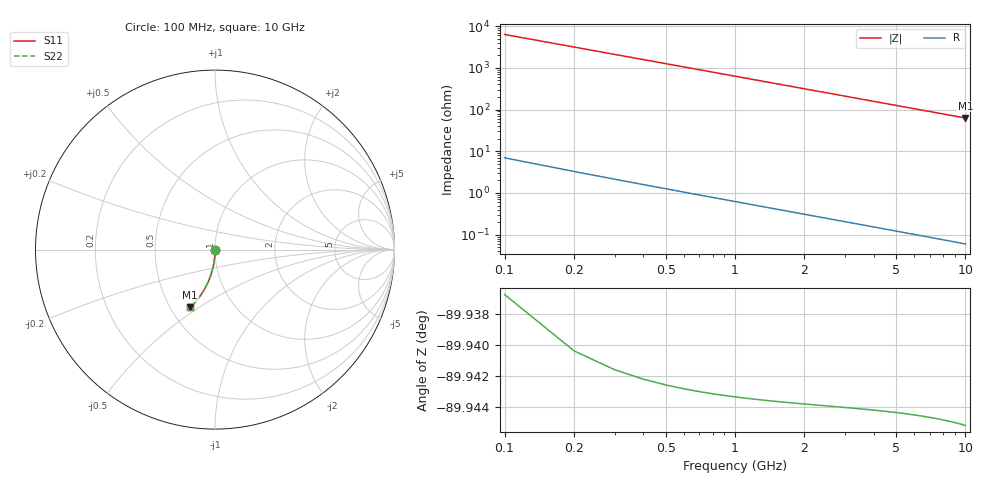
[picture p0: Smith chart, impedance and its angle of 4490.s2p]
# Hz S RI R 50.00
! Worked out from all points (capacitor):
!   100 points, 100 MHz to 10 GHz, reference 50 ohm
!   read as one part in shunt: C = 252 fF near 100 MHz
!   lowest |Z| = 62.8 ohm at 10 GHz (marker M1)
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1e8  4.25e-05 -0.00373  0.9999 -0.00419  0.9999 -0.00419  4.25e-05 -0.00373
2e8  -7.91e-06 -0.00746  0.9999 -0.00838  0.9999 -0.00838  -7.91e-06 -0.00746
3e8  -8.97e-05 -0.0112  0.9998 -0.0126  0.9998 -0.0126  -8.97e-05 -0.0112
4e8  -0.000203 -0.0149  0.9997 -0.0168  0.9997 -0.0168  -0.000203 -0.0149
5e8  -0.000347 -0.0187  0.9995 -0.021  0.9995 -0.021  -0.000347 -0.0187
6e8  -0.000523 -0.0224  0.9993 -0.0251  0.9993 -0.0251  -0.000523 -0.0224
7e8  -0.00073 -0.0261  0.9991 -0.0293  0.9991 -0.0293  -0.00073 -0.0261
8e8  -0.000968 -0.0298  0.9989 -0.0335  0.9989 -0.0335  -0.000968 -0.0298
9e8  -0.00124 -0.0336  0.9986 -0.0377  0.9986 -0.0377  -0.00124 -0.0336
1.1e9  -0.00187 -0.041  0.998 -0.0461  0.998 -0.0461  -0.00187 -0.041
1.4e9  -0.00305 -0.0521  0.9968 -0.0586  0.9968 -0.0586  -0.00305 -0.0521
1.8e9  -0.00506 -0.0669  0.9948 -0.0752  0.9948 -0.0752  -0.00506 -0.0669
2.1e9  -0.00689 -0.0779  0.9929 -0.0876  0.9929 -0.0876  -0.00689 -0.0779
2.5e9  -0.00975 -0.0925  0.99 -0.104  0.99 -0.104  -0.00975 -0.0925
2.9e9  -0.0131 -0.107  0.9867 -0.1204  0.9867 -0.1204  -0.0131 -0.107
3.4e9  -0.0179 -0.1249  0.9818 -0.1406  0.9818 -0.1406  -0.0179 -0.1249
4.2e9  -0.0272 -0.1529  0.9725 -0.1723  0.9725 -0.1723  -0.0272 -0.1529
5.1e9  -0.0397 -0.1833  0.9599 -0.2069  0.9599 -0.2069  -0.0397 -0.1833
5.9e9  -0.0525 -0.2093  0.947 -0.2367  0.947 -0.2367  -0.0525 -0.2093
6.7e9  -0.0668 -0.2341  0.9326 -0.2653  0.9326 -0.2653  -0.0668 -0.2341
8.4e9  -0.1016 -0.2826  0.8975 -0.3218  0.8975 -0.3218  -0.1016 -0.2826
1e10  -0.1386 -0.3223  0.8601 -0.3692  0.8601 -0.3692  -0.1386 -0.3223
